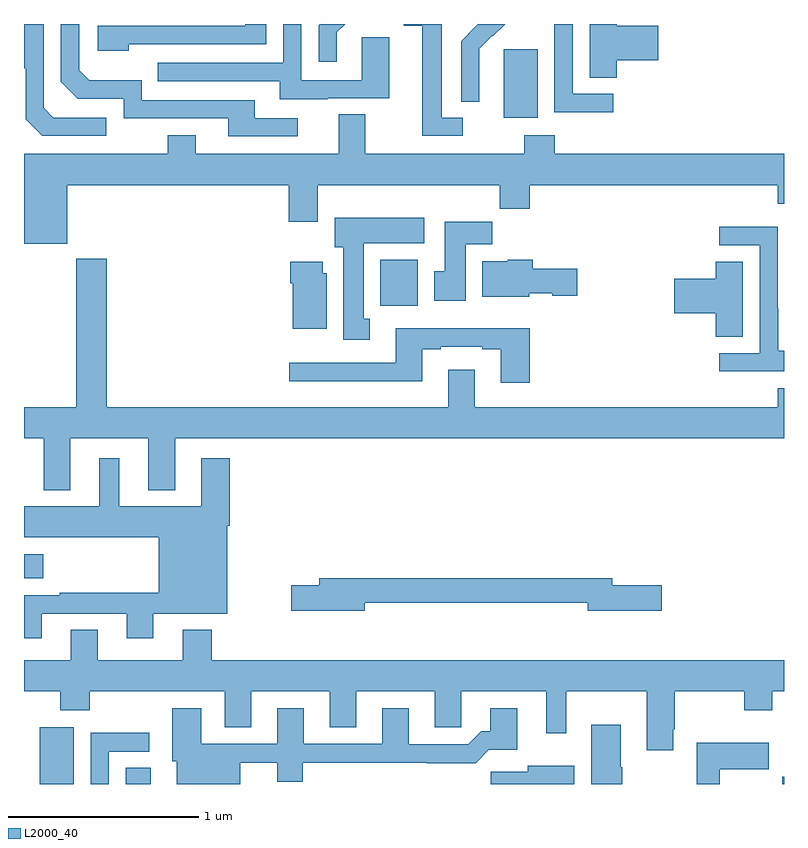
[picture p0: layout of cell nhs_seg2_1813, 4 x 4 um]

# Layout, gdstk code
import gdstk
lib = gdstk.Library(unit=1e-6, precision=1e-09)
def R(c, l, rs):  # rectangles x0, y0, x1, y1
    for r in rs: c.add(gdstk.rectangle(r[:2], r[2:], *l))
def P(c, l, *ps):  # polygons
    for p in ps: c.add(gdstk.Polygon(p, *l))
L2000_40 = (2000, 40)

nhs_seg2_1813 = lib.new_cell('nhs_seg2_1813')
R(nhs_seg2_1813, L2000_40, [(205.082,661.8,205.261,662.098), (205.535,661.8,205.666,661.886), (208.992,661.8,209,661.837), (205,662.882,205.102,663.01), (206.876,664.316,207.073,664.558), (207.524,665.306,207.703,665.667)])
P(nhs_seg2_1813, L2000_40, [(208.102,665.433),(207.888,665.433),(207.888,665.8),(207.79,665.8),(207.79,665.764),(207.792,665.764),(207.792,665.335),(208.102,665.335)],
  [(205.55,665.694),(206.274,665.694),(206.274,665.8),(206.165,665.8),(206.165,665.79),(205.389,665.79),(205.389,665.66),(205.55,665.66)],
  [(206.44,665.304),(206.215,665.304),(206.215,665.4),(205.62,665.4),(205.62,665.503),(205.343,665.503),(205.29,665.556),(205.29,665.8),(205.194,665.8),(205.194,665.496),(205.284,665.406),(205.524,665.406),(205.524,665.304),(206.075,665.304),(206.075,665.208),(206.44,665.208)],
  [(206.599,665.409),(206.923,665.409),(206.923,665.729),(206.778,665.729),(206.778,665.505),(206.46,665.505),(206.46,665.8),(206.364,665.8),(206.364,665.595),(205.705,665.595),(205.705,665.499),(206.345,665.499),(206.345,665.405),(206.599,665.405)],
  [(206.647,665.757),(206.69,665.8),(206.556,665.8),(206.55,665.794),(206.55,665.601),(206.647,665.601)],
  [(207.31,665.307),(207.199,665.307),(207.199,665.8),(206.999,665.8),(206.999,665.792),(207.095,665.792),(207.095,665.211),(207.31,665.211)],
  [(207.396,665.546),(207.395,665.546),(207.395,665.669),(207.465,665.739),(207.468,665.736),(207.532,665.8),(207.388,665.8),(207.372,665.784),(207.373,665.783),(207.3,665.71),(207.3,665.392),(207.396,665.392)],
  [(208.121,665.609),(208.339,665.609),(208.339,665.792),(208.121,665.792),(208.121,665.8),(207.977,665.8),(207.977,665.518),(208.121,665.518)],
  [(205.432,665.307),(205.155,665.307),(205.104,665.358),(205.104,665.8),(205,665.8),(205,665.567),(205.008,665.567),(205.008,665.298),(205.095,665.211),(205.432,665.211)],
  [(205.228,664.952),(206.393,664.952),(206.393,664.758),(206.545,664.758),(206.545,664.952),(207.505,664.952),(207.505,664.828),(207.662,664.828),(207.662,664.952),(208.967,664.952),(208.967,664.853),(209,664.853),(209,665.116),(207.794,665.116),(207.794,665.215),(207.634,665.215),(207.634,665.116),(206.797,665.116),(206.797,665.324),(206.657,665.324),(206.657,665.116),(205.903,665.116),(205.903,665.215),(205.756,665.215),(205.756,665.116),(205,665.116),(205,664.643),(205.228,664.643)],
  [(206.821,664.25),(206.788,664.25),(206.788,664.646),(207.106,664.646),(207.106,664.78),(206.636,664.78),(206.636,664.626),(206.681,664.626),(206.681,664.137),(206.821,664.137)],
  [(207.325,664.64),(207.464,664.64),(207.464,664.759),(207.215,664.759),(207.215,664.5),(207.158,664.5),(207.158,664.344),(207.325,664.344)],
  [(209,664.081),(208.971,664.081),(208.971,664.304),(208.968,664.304),(208.968,664.734),(208.659,664.734),(208.659,664.635),(208.872,664.635),(208.872,664.068),(208.659,664.068),(208.659,663.972),(209,663.972)],
  [(205.243,663.62),(205.655,663.62),(205.655,663.347),(205.795,663.347),(205.795,663.62),(209,663.62),(209,663.883),(208.967,663.883),(208.967,663.784),(207.373,663.784),(207.373,663.979),(207.233,663.979),(207.233,663.784),(205.436,663.784),(205.436,664.564),(205.276,664.564),(205.276,663.784),(205,663.784),(205,663.62),(205.103,663.62),(205.103,663.347),(205.243,663.347)],
  [(207.66,664.382),(207.78,664.382),(207.78,664.37),(207.913,664.37),(207.913,664.512),(207.677,664.512),(207.677,664.558),(207.546,664.558),(207.546,664.552),(207.413,664.552),(207.413,664.364),(207.66,664.364)],
  [(208.783,664.55),(208.64,664.55),(208.64,664.46),(208.422,664.46),(208.422,664.277),(208.64,664.277),(208.64,664.153),(208.783,664.153)],
  [(206.593,664.488),(206.572,664.488),(206.572,664.549),(206.402,664.549),(206.402,664.436),(206.414,664.436),(206.414,664.196),(206.593,664.196)],
  [(207.662,664.198),(206.957,664.198),(206.957,664.017),(206.397,664.017),(206.397,663.92),(207.097,663.92),(207.097,664.089),(207.193,664.089),(207.193,664.101),(207.413,664.101),(207.413,664.089),(207.509,664.089),(207.509,663.912),(207.662,663.912)],
  [(205.093,662.697),(205.541,662.697),(205.541,662.568),(205.681,662.568),(205.681,662.696),(206.071,662.696),(206.071,663.158),(206.084,663.158),(206.084,663.514),(205.934,663.514),(205.934,663.262),(205.501,663.262),(205.501,663.514),(205.397,663.514),(205.397,663.262),(205,663.262),(205,663.098),(205.709,663.098),(205.709,662.806),(205.189,662.806),(205.189,662.793),(205,662.793),(205,662.568),(205.093,662.568)],
  [(206.794,662.754),(207.968,662.754),(207.968,662.711),(208.357,662.711),(208.357,662.846),(208.096,662.846),(208.096,662.882),(206.555,662.882),(206.555,662.846),(206.406,662.846),(206.406,662.711),(206.794,662.711)],
  [(208.417,662.089),(208.425,662.089),(208.425,662.288),(208.792,662.288),(208.792,662.189),(208.938,662.189),(208.938,662.288),(209,662.288),(209,662.452),(205.988,662.452),(205.988,662.611),(205.835,662.611),(205.835,662.452),(205.387,662.452),(205.387,662.612),(205.247,662.612),(205.247,662.452),(205,662.452),(205,662.288),(205.192,662.288),(205.192,662.189),(205.347,662.189),(205.347,662.288),(206.057,662.288),(206.057,662.098),(206.197,662.098),(206.197,662.288),(206.609,662.288),(206.609,662.098),(206.749,662.098),(206.749,662.288),(207.161,662.288),(207.161,662.098),(207.3,662.098),(207.3,662.288),(207.749,662.288),(207.749,662.067),(207.853,662.067),(207.853,662.288),(208.277,662.288),(208.277,661.977),(208.417,661.977)],
  [(206.137,661.912),(206.333,661.912),(206.333,661.811),(206.468,661.811),(206.468,661.912),(207.121,661.912),(207.121,661.91),(207.377,661.91),(207.446,661.979),(207.595,661.979),(207.595,662.2),(207.455,662.2),(207.455,662.077),(207.406,662.077),(207.339,662.01),(207.025,662.01),(207.025,662.2),(206.885,662.2),(206.885,662.013),(206.473,662.013),(206.473,662.2),(206.333,662.2),(206.333,662.013),(205.933,662.013),(205.933,662.2),(205.781,662.2),(205.781,661.92),(205.805,661.92),(205.805,661.8),(206.137,661.8)],
  [(208.149,661.889),(208.141,661.889),(208.141,662.113),(207.986,662.113),(207.986,661.8),(208.149,661.8)],
  [(205.446,661.971),(205.66,661.971),(205.66,662.07),(205.35,662.07),(205.35,661.8),(205.446,661.8)],
  [(208.663,661.877),(208.919,661.877),(208.919,662.017),(208.542,662.017),(208.542,661.8),(208.663,661.8)],
  [(207.895,661.897),(207.65,661.897),(207.65,661.865),(207.456,661.865),(207.456,661.8),(207.895,661.8)])

lib.write_gds('nhs_seg2_1813.gds')
